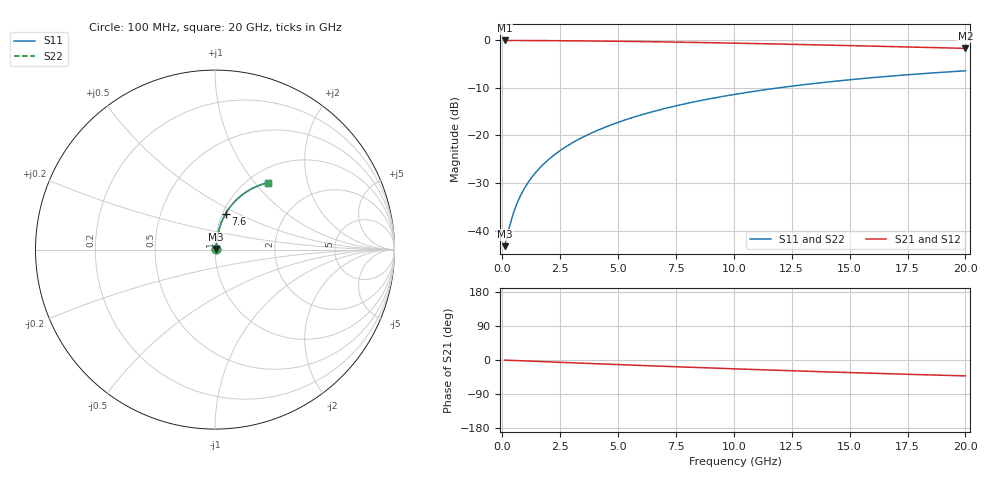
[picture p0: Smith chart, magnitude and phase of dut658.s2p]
! Touchstone file exported from HFSS 2024.1.0
!  File:  C:/UserFiles/LocalFiles/RDL_TSV_Batchsim/temp_RDL_top_658_1779781644.aedt
!  Generated:  03:49:45 PM May 26, 2026
!  Design:  RDL_top
!  Project:  temp_RDL_top_658_1779781644
!  Setup:  Setup1
!  Solution:  Sweep
! Variables:
!  dtsv = 10.80580581um
!  hbump = 3um
!  htsv = 80.46um
!  ldown = 100um
!  lrdl = 498.13um
!  p = 40
!  p1 = 56.16um
!  rhole = 1um
!  t = 450um
!  tdown = 3.915915916um
!  trdl = 2.03um
!  wdown = 15.38538539um
!  wrdl = 14.37um
# GHz S MA R 50.000000
! Terminal data exported
! Port[1] = Box2_T1
! Port[2] = Box2_T2
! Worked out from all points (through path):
!   200 points, 100 MHz to 20 GHz, reference 50 ohm
!   highest |S21| = -0.05 dB at 100 MHz (marker M1); lowest = -1.7 dB at 20 GHz (marker M2)
!   group delay of S21, straight-line fit = 5.84 ps
!   lowest |S11| = -43.3 dB at 100 MHz (marker M3), VSWR 1.01, Z = 50.6 + j0.291 ohm
!   |S11| at or under -10 dB: start of sweep to 11.95 GHz
!   |S22| runs from -43.3 to -6.4 dB; largest |S21 - S12| = 3.8e-15
!   S11 on the Smith chart (normalised r, x): 100 MHz: 1.01, +0.01; 7.6 GHz: 1.03, +0.43; 20 GHz: 1.22, +1.18
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0.1  0.006855 24.8  0.9938 -0.3  0.9938 -0.3  0.006855 24.8
! Gamma 0 0 0 0
! Port Impedance 50 0 50 0
0.3  0.01071 53.2  0.9936 -0.8  0.9936 -0.8  0.01071 53.2
0.4  0.01316 60.1  0.9934 -1.0  0.9934 -1.0  0.01316 60.1
0.5  0.01572 64.6  0.9933 -1.3  0.9933 -1.3  0.01572 64.6
0.6  0.01834 67.7  0.9931 -1.5  0.9931 -1.5  0.01834 67.7
0.7  0.02099 70.0  0.9929 -1.8  0.9929 -1.8  0.02099 70.0
0.9  0.02632 73.1  0.9924 -2.3  0.9924 -2.3  0.02632 73.1
1.2  0.03432 75.8  0.9917 -3.0  0.9917 -3.0  0.03432 75.8
1.4  0.03967 76.9  0.9912 -3.5  0.9912 -3.5  0.03967 76.9
1.7  0.04771 78.0  0.9904 -4.2  0.9904 -4.2  0.04771 78.0
2.2  0.06116 79.0  0.9888 -5.4  0.9888 -5.4  0.06116 79.0
2.8  0.07738 79.3  0.9865 -6.9  0.9865 -6.9  0.07738 79.3
3.5  0.09637 79.1  0.9833 -8.6  0.9833 -8.6  0.09637 79.1
4.2  0.1154 78.5  0.9795 -10.2  0.9795 -10.2  0.1154 78.6
5  0.1371 77.6  0.9745 -12.1  0.9745 -12.1  0.1372 77.6
5.9  0.1615 76.3  0.9682 -14.2  0.9682 -14.2  0.1615 76.4
6.8  0.1857 74.9  0.9612 -16.3  0.9612 -16.3  0.1857 74.9
7.6  0.207 73.6  0.9544 -18.1  0.9544 -18.1  0.207 73.6
10.1  0.2713 69.0  0.9307 -23.5  0.9307 -23.5  0.2714 69.0
13.4  0.3494 62.9  0.8956 -30.2  0.8956 -30.2  0.3495 62.9
16.7  0.4181 56.9  0.8583 -36.3  0.8583 -36.3  0.4183 57.0
20  0.4771 51.4  0.821 -42.0  0.821 -42.0  0.4773 51.4
